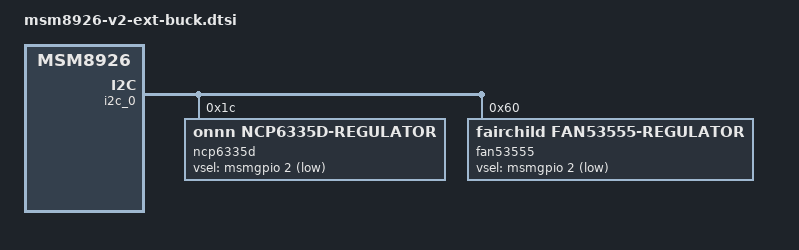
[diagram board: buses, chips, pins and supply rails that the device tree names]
/* Copyright (c) 2013-2014, The Linux Foundation. All rights reserved.
 *
 * This program is free software; you can redistribute it and/or modify
 * it under the terms of the GNU General Public License version 2 and
 * only version 2 as published by the Free Software Foundation.
 *
 * This program is distributed in the hope that it will be useful,
 * but WITHOUT ANY WARRANTY; without even the implied warranty of
 * MERCHANTABILITY or FITNESS FOR A PARTICULAR PURPOSE.  See the
 * GNU General Public License for more details.
 */

#include "msm8926-v2.dtsi"

&i2c_0 {
	qcom,sda-gpio = <&msmgpio 14 0>;
	qcom,scl-gpio = <&msmgpio 15 0>;

	ncp6335d: ncp6335d-regulator@1c {
		compatible = "onnn,ncp6335d-regulator";
		reg = <0x1c>;
		onnn,vsel = <0>;
		onnn,slew-ns = <2666>;
		onnn,step-size = <10000>;
		onnn,min-slew-ns = <333>;
		onnn,max-slew-ns = <2666>;
		regulator-min-microvolt = <1050000>;
		regulator-max-microvolt = <1350000>;
		onnn,min-setpoint = <600000>;
		onnn,vsel-gpio = <&msmgpio 2 1>;
		onnn,discharge-enable;
		onnn,restore-reg;
		onnn,tlmm-config = <0x80 0x0>;
	};

	fan53555: fan53555-regulator@60 {
		compatible = "fairchild,fan53555-regulator";
		reg = <0x60>;
		fairchild,backup-vsel = <1>;
		regulator-min-microvolt = <1050000>;
		regulator-max-microvolt = <1350000>;
		regulator-ramp-delay = <8000>;
		fairchild,vsel-gpio = <&msmgpio 2 1>;
		fairchild,restore-reg;
		fairchild,disable-suspend;
	};
};

&apc_vreg_corner {
	vdd-apc-optional-prim-supply = <&ncp6335d>;
	vdd-apc-supply = <&fan53555>;
};

&soc {

};
